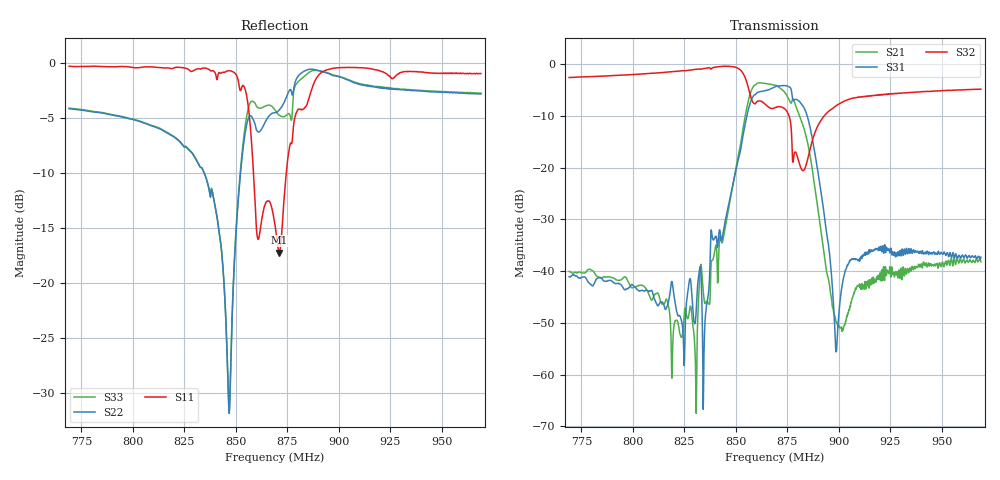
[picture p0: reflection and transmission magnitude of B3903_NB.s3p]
! Matrix data file written by TouchstoneData, EPCOS AG
! FILENAME: "LY02A_4_NB.s3p_newformat"
! COMMENT: "(LY02A_4_NB.s3p) EPCOS AG 30.07.2009 10:12:1"
! INFO: nport=3, nfreq=1601
! DATE: "Fri Aug  7 16:54:35 2009"
! USER: "Michael Schemies"
! port | pin | signal
!  1  |  2  |  in
!  2  |  4  |  out
!  3  |  6  |  out
# MHZ S MA R 50
! freq  magS11 angS11  magS12 angS12  magS13 angS13  ...
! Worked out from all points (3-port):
!   1601 points, 769 MHz to 969 MHz, reference 50 ohm
!   strongest paths, dB at 769 MHz, 819 MHz, 869 MHz, 919 MHz, 969 MHz:
!     S32: -2.6, -1.5, -8.4, -5.9, -4.8
!     S31: -41.1, -42.1, -4.4, -35.8, -37.3
!     S21: -40.1, -60.6, -4.0, -41.1, -38.2
!   lowest |S11| = -17.2 dB at 871 MHz (marker M1), VSWR 1.32, Z = 43.8 + j11.5 ohm
!   |S11| at or under -10 dB: 858.6 MHz to 874.5 MHz (15.9 MHz wide, 1.84 % of centre)
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769  0.9687 -92.7  0.009932 28.9  0.008851 37.8
     0.009924 28.9  0.6211 -79.7  0.7452 9.3
     0.008848 37.9  0.7433 9.1  0.6246 -79.7
830.375  0.9336 -120.1  0.001224 119.3  0.003285 104.3
         0.001228 120.3  0.3683 -98.4  0.8944 -10.5
         0.00331 104.1  0.892 -10.6  0.3705 -97.7
846.625  0.9241 -151.3  0.0418 -122.4  0.04561 105.5
         0.04173 -122.4  0.02599 -47.4  0.9553 -33.2
         0.04553 105.5  0.9538 -33.3  0.02649 -43.4
855.125  0.7195 145.9  0.3636 -177.1  0.3033 20.0
         0.3641 -177.0  0.5193 5.6  0.6868 -66.5
         0.3026 19.9  0.6849 -66.6  0.5648 11.4
869  0.1845 -178.5  0.6268 -6.0  0.6043 166.0
     0.6275 -5.9  0.5956 -24.3  0.3799 -41.8
     0.6035 166.0  0.379 -41.9  0.6134 -37.4
871  0.1379 111.5  0.5951 -29.9  0.6168 140.8
     0.5956 -29.8  0.6113 -23.4  0.3904 -44.7
     0.6159 140.8  0.3891 -44.8  0.5807 -36.5
884  0.6358 169.1  0.2046 156.8  0.345 -20.8
     0.205 156.8  0.9274 -38.6  0.1044 14.7
     0.3447 -20.7  0.1041 14.5  0.8833 -36.2
887.5  0.794 72.5  0.08481 100.6  0.1728 -69.3
       0.08477 100.8  0.9382 -45.7  0.1941 37.7
       0.1728 -69.3  0.1936 37.6  0.9254 -43.3
898.75  0.9515 -24.4  0.003203 54.8  0.001659 -26.1
        0.003224 54.8  0.8747 -58.5  0.398 29.4
        0.001678 -25.4  0.3974 29.3  0.8766 -57.9
969  0.8973 -77.8  0.01226 45.7  0.01367 32.7
     0.01228 45.6  0.7243 -73.3  0.576 10.2
     0.01365 32.8  0.5738 10.1  0.7306 -73.1
